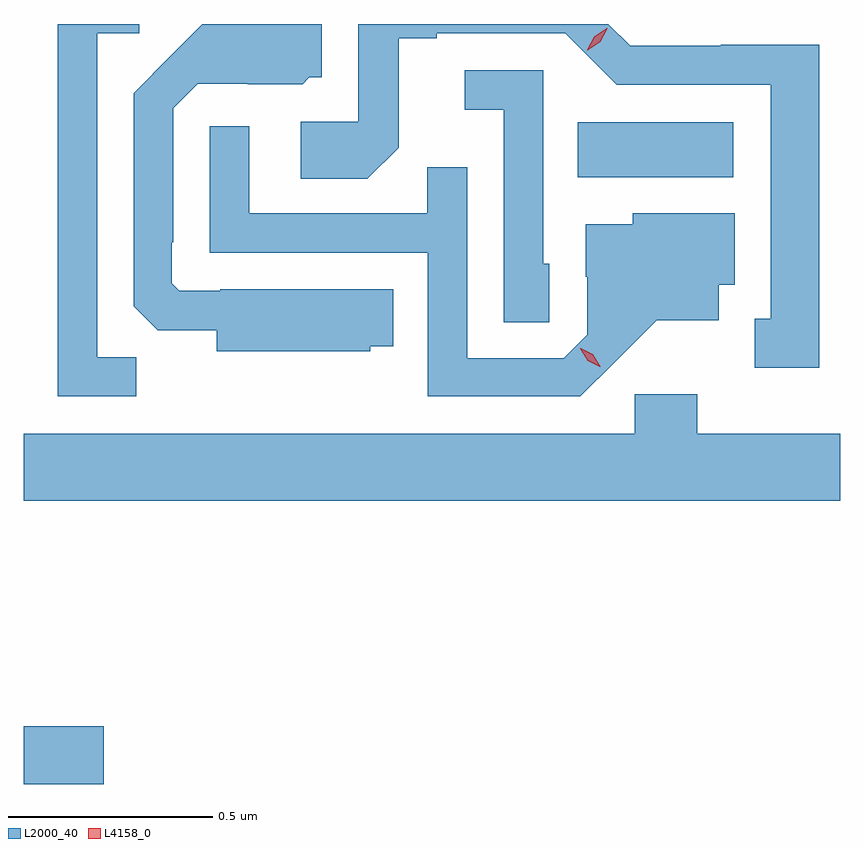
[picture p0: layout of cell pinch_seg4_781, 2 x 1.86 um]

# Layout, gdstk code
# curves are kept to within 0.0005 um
import gdstk
lib = gdstk.Library(unit=1e-6, precision=1e-09)
def R(c, l, rs):  # rectangles x0, y0, x1, y1
    for r in rs: c.add(gdstk.rectangle(r[:2], r[2:], *l))
def P(c, l, *ps):  # polygons
    for p in ps: c.add(gdstk.Polygon(p, *l))
L2000_40 = (2000, 40)
L4158_0 = (4158, 0)

pinch_seg4_781 = lib.new_cell('pinch_seg4_781')
R(pinch_seg4_781, L2000_40, [(782.253,817.438,782.449,817.58), (783.61,818.924,783.991,819.058)])
P(pinch_seg4_781, L2000_40, [(784.201,819.248),(783.96,819.248),(783.96,819.246),(783.738,819.246),(783.685,819.299),(783.072,819.299),(783.072,819.06),(782.931,819.06),(782.931,818.92),(783.095,818.92),(783.171,818.996),(783.171,819.264),(783.265,819.264),(783.265,819.276),(783.579,819.276),(783.705,819.15),(784.082,819.15),(784.082,818.577),(784.043,818.577),(784.043,818.457),(784.201,818.457)],
  [(783.102,818.51),(783.158,818.51),(783.158,818.65),(782.734,818.65),(782.734,818.646),(782.634,818.646),(782.616,818.664),(782.616,818.764),(782.619,818.764),(782.619,819.093),(782.679,819.153),(782.802,819.153),(782.802,819.152),(782.936,819.152),(782.952,819.168),(782.983,819.168),(782.983,819.299),(782.69,819.299),(782.523,819.13),(782.523,818.608),(782.582,818.549),(782.726,818.549),(782.726,818.498),(783.102,818.498)],
  [(782.529,818.483),(782.433,818.483),(782.433,819.276),(782.536,819.276),(782.536,819.299),(782.337,819.299),(782.337,818.388),(782.529,818.388)],
  [(783.54,818.712),(783.525,818.712),(783.525,819.186),(783.333,819.186),(783.333,819.089),(783.429,819.089),(783.429,818.569),(783.54,818.569)],
  [(783.7,818.471),(783.803,818.573),(783.955,818.573),(783.955,818.66),(783.994,818.66),(783.994,818.836),(783.744,818.836),(783.744,818.809),(783.629,818.809),(783.629,818.68),(783.633,818.68),(783.633,818.538),(783.576,818.481),(783.339,818.481),(783.339,818.948),(783.241,818.948),(783.241,818.835),(782.805,818.835),(782.805,819.049),(782.709,819.049),(782.709,818.739),(783.243,818.739),(783.243,818.388),(783.616,818.388)],
  [(784.253,818.296),(783.902,818.296),(783.902,818.392),(783.75,818.392),(783.75,818.296),(782.253,818.296),(782.253,818.132),(784.253,818.132)])
P(pinch_seg4_781, L4158_0, [(783.633,819.235),(783.633,819.236),(783.65,819.268),(783.681,819.288),(783.682,819.288),(783.682,819.287),(783.665,819.255),(783.634,819.235)],
  [(783.664,818.46),(783.634,818.475),(783.616,818.504),(783.616,818.505),(783.617,818.505),(783.647,818.49),(783.665,818.461),(783.665,818.46)])

lib.write_gds('pinch_seg4_781.gds')
